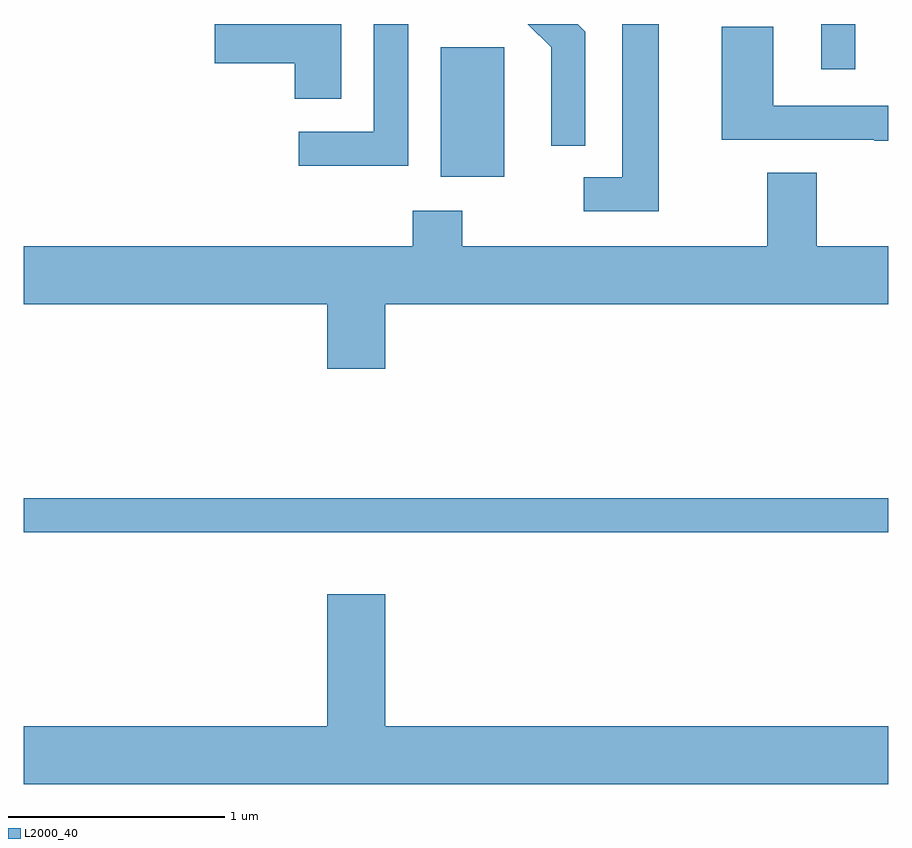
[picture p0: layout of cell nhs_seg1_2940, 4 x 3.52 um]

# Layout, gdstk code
import gdstk
lib = gdstk.Library(unit=1e-6, precision=1e-09)
def R(c, l, rs):  # rectangles x0, y0, x1, y1
    for r in rs: c.add(gdstk.rectangle(r[:2], r[2:], *l))
def P(c, l, *ps):  # polygons
    for p in ps: c.add(gdstk.Polygon(p, *l))
L2000_40 = (2000, 40)

nhs_seg1_2940 = lib.new_cell('nhs_seg1_2940')
R(nhs_seg1_2940, L2000_40, [(273.611,947.361,277.611,947.519), (275.541,949.006,275.834,949.604), (277.301,949.503,277.459,949.712)])
P(nhs_seg1_2940, L2000_40, [(275.389,949.712),(275.231,949.712),(275.231,949.214),(274.883,949.214),(274.883,949.056),(275.389,949.056)],
  [(276.209,949.677),(276.174,949.712),(275.943,949.712),(276.051,949.604),(276.051,949.148),(276.209,949.148)],
  [(275.079,949.712),(274.496,949.712),(274.496,949.531),(274.866,949.531),(274.866,949.366),(275.079,949.366)],
  [(276.549,949.712),(276.381,949.712),(276.381,949.004),(276.203,949.004),(276.203,948.846),(276.549,948.846)],
  [(277.611,949.334),(277.079,949.334),(277.079,949.699),(276.841,949.699),(276.841,949.176),(277.545,949.176),(277.545,949.171),(277.611,949.171)],
  [(275.284,948.416),(277.611,948.416),(277.611,948.684),(277.279,948.684),(277.279,949.024),(277.051,949.024),(277.051,948.684),(275.639,948.684),(275.639,948.849),(275.411,948.849),(275.411,948.684),(273.611,948.684),(273.611,948.416),(275.016,948.416),(275.016,948.116),(275.284,948.116)],
  [(277.611,946.464),(275.284,946.464),(275.284,947.074),(275.016,947.074),(275.016,946.464),(273.611,946.464),(273.611,946.196),(277.611,946.196)])

lib.write_gds('nhs_seg1_2940.gds')
